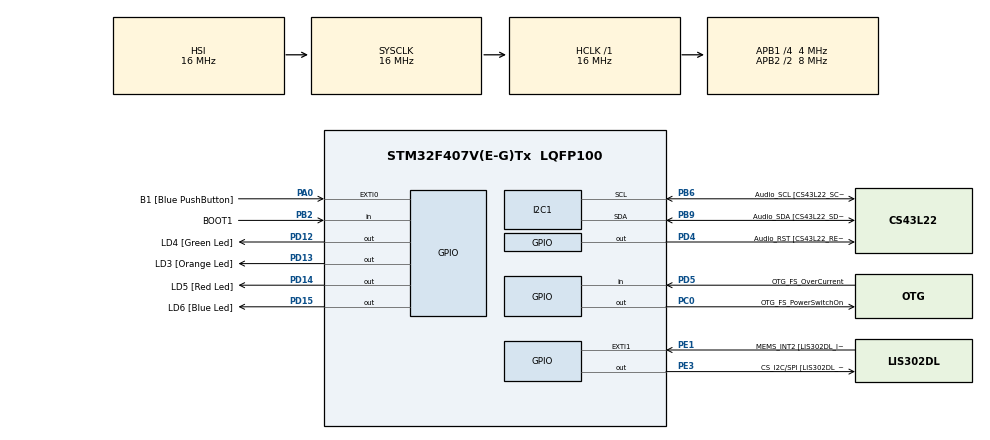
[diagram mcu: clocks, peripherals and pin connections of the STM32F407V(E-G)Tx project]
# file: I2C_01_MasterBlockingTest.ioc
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I2C1.OwnAddress=57
Mcu.Family=STM32F4
Mcu.Name=STM32F407V(E-G)Tx
Mcu.Package=LQFP100
NVIC.I2C1_ER_IRQn=true\:0\:0\:false\:false\:true\:true\:true\:true
NVIC.I2C1_EV_IRQn=true\:0\:0\:false\:false\:true\:true\:true\:true
NVIC.PriorityGroup=NVIC_PRIORITYGROUP_0
PA0-WKUP.GPIO_Label=B1 [Blue PushButton]
PA0-WKUP.Signal=GPXTI0
PA10.GPIO_Label=OTG_FS_ID
PA10.GPIO_Mode=GPIO_MODE_AF_PP
PA10.GPIO_PuPd=GPIO_NOPULL
PA10.GPIO_Speed=GPIO_SPEED_FREQ_LOW
PA10.Signal=USB_OTG_FS_ID
PA11.GPIO_Label=OTG_FS_DM
PA11.GPIO_Mode=GPIO_MODE_AF_PP
PA11.GPIO_PuPd=GPIO_NOPULL
PA11.GPIO_Speed=GPIO_SPEED_FREQ_LOW
PA11.Signal=USB_OTG_FS_DM
PA12.GPIO_Label=OTG_FS_DP
PA12.GPIO_Mode=GPIO_MODE_AF_PP
PA12.GPIO_PuPd=GPIO_NOPULL
PA12.GPIO_Speed=GPIO_SPEED_FREQ_LOW
PA12.Signal=USB_OTG_FS_DP
PA13.GPIO_Label=SWDIO
PA13.Signal=SYS_JTMS-SWDIO
PA14.GPIO_Label=SWCLK
PA14.Signal=SYS_JTCK-SWCLK
PA4.GPIO_Label=I2S3_WS [CS43L22_LRCK]
PA4.GPIO_Mode=GPIO_MODE_AF_PP
PA4.GPIO_PuPd=GPIO_NOPULL
PA4.GPIO_Speed=GPIO_SPEED_FREQ_LOW
PA4.Signal=I2S3_WS
PA5.GPIO_Label=SPI1_SCK [LIS302DL_SCL/SPC]
PA5.GPIO_Mode=GPIO_MODE_AF_PP
PA5.GPIO_PuPd=GPIO_NOPULL
PA5.GPIO_Speed=GPIO_SPEED_FREQ_LOW
PA5.Signal=SPI1_SCK
PA6.GPIO_Label=SPI1_MISO [LIS302DL_SDO]
PA6.GPIO_Mode=GPIO_MODE_AF_PP
PA6.GPIO_PuPd=GPIO_NOPULL
PA6.GPIO_Speed=GPIO_SPEED_FREQ_LOW
PA6.Signal=SPI1_MISO
PA7.GPIO_Label=SPI1_MOSI [LIS302DL_SDA/SDI/SDO]
PA7.GPIO_Mode=GPIO_MODE_AF_PP
PA7.GPIO_PuPd=GPIO_NOPULL
PA7.GPIO_Speed=GPIO_SPEED_FREQ_LOW
PA7.Signal=SPI1_MOSI
PA9.GPIO_Label=VBUS_FS
PA9.GPIO_Mode=GPIO_MODE_INPUT
PA9.GPIO_PuPd=GPIO_NOPULL
PA9.Signal=USB_OTG_FS_VBUS
PB10.GPIO_Label=CLK_IN [MP45DT02_CLK]
PB10.GPIO_Mode=GPIO_MODE_AF_PP
PB10.GPIO_PuPd=GPIO_NOPULL
PB10.GPIO_Speed=GPIO_SPEED_FREQ_LOW
PB10.Signal=I2S2_CK
PB2.GPIO_Label=BOOT1
PB2.GPIO_Mode=GPIO_MODE_INPUT
PB2.GPIO_PuPd=GPIO_NOPULL
PB2.Signal=GPIO_Input
PB3.GPIO_Label=SWO
PB3.Signal=SYS_JTDO-SWO
PB6.GPIO_Label=Audio_SCL [CS43L22_SCL]
PB6.GPIO_Mode=GPIO_MODE_AF_OD
PB6.GPIO_PuPd=GPIO_NOPULL
PB6.GPIO_Speed=GPIO_SPEED_FREQ_LOW
PB6.Mode=I2C
PB6.Signal=I2C1_SCL
PB9.GPIO_Label=Audio_SDA [CS43L22_SDA]
PB9.GPIO_Mode=GPIO_MODE_AF_OD
PB9.GPIO_PuPd=GPIO_NOPULL
PB9.GPIO_Speed=GPIO_SPEED_FREQ_LOW
PB9.Mode=I2C
PB9.Signal=I2C1_SDA
PC0.GPIO_Label=OTG_FS_PowerSwitchOn
PC0.GPIO_PuPd=GPIO_NOPULL
PC0.GPIO_Speed=GPIO_SPEED_FREQ_LOW
PC0.PinState=GPIO_PIN_SET
PC0.Signal=GPIO_Output
PC10.GPIO_Label=I2S3_SCK [CS43L22_SCLK]
PC10.GPIO_Mode=GPIO_MODE_AF_PP
PC10.GPIO_PuPd=GPIO_NOPULL
PC10.GPIO_Speed=GPIO_SPEED_FREQ_LOW
PC10.Signal=I2S3_CK
PC12.GPIO_Label=I2S3_SD [CS43L22_SDIN]
PC12.GPIO_Mode=GPIO_MODE_AF_PP
PC12.GPIO_PuPd=GPIO_NOPULL
PC12.GPIO_Speed=GPIO_SPEED_FREQ_LOW
PC12.Signal=I2S3_SD
PC14-OSC32_IN.GPIO_Label=PC14-OSC32_IN
PC14-OSC32_IN.Signal=RCC_OSC32_IN
PC15-OSC32_OUT.GPIO_Label=PC15-OSC32_OUT
PC15-OSC32_OUT.Signal=RCC_OSC32_OUT
PC3.GPIO_Label=PDM_OUT [MP45DT02_DOUT]
PC3.GPIO_Mode=GPIO_MODE_AF_PP
PC3.GPIO_PuPd=GPIO_NOPULL
PC3.GPIO_Speed=GPIO_SPEED_FREQ_LOW
PC3.Signal=I2S2_SD
PC7.GPIO_Label=I2S3_MCK [CS43L22_MCLK]
PC7.GPIO_Mode=GPIO_MODE_AF_PP
PC7.GPIO_PuPd=GPIO_NOPULL
PC7.GPIO_Speed=GPIO_SPEED_FREQ_LOW
PC7.Signal=I2S3_MCK
PD12.GPIO_Label=LD4 [Green Led]
PD12.GPIO_PuPd=GPIO_NOPULL
PD12.GPIO_Speed=GPIO_SPEED_FREQ_LOW
PD12.Signal=GPIO_Output
PD13.GPIO_Label=LD3 [Orange Led]
PD13.GPIO_PuPd=GPIO_NOPULL
PD13.GPIO_Speed=GPIO_SPEED_FREQ_LOW
PD13.Signal=GPIO_Output
PD14.GPIO_Label=LD5 [Red Led]
PD14.GPIO_PuPd=GPIO_NOPULL
PD14.GPIO_Speed=GPIO_SPEED_FREQ_LOW
PD14.Signal=GPIO_Output
PD15.GPIO_Label=LD6 [Blue Led]
PD15.GPIO_PuPd=GPIO_NOPULL
PD15.GPIO_Speed=GPIO_SPEED_FREQ_LOW
PD15.Signal=GPIO_Output
PD4.GPIO_Label=Audio_RST [CS43L22_RESET]
PD4.GPIO_PuPd=GPIO_NOPULL
PD4.GPIO_Speed=GPIO_SPEED_FREQ_LOW
PD4.Signal=GPIO_Output
PD5.GPIO_Label=OTG_FS_OverCurrent
PD5.GPIO_Mode=GPIO_MODE_INPUT
PD5.GPIO_PuPd=GPIO_NOPULL
PD5.Signal=GPIO_Input
PE1.GPIO_Label=MEMS_INT2 [LIS302DL_INT2]
PE1.GPIO_ModeDefaultEXTI=GPIO_MODE_EVT_RISING
PE1.GPIO_PuPd=GPIO_NOPULL
PE1.Signal=GPXTI1
PE3.GPIO_Label=CS_I2C/SPI [LIS302DL_CS_I2C/SPI]
PE3.GPIO_PuPd=GPIO_NOPULL
PE3.GPIO_Speed=GPIO_SPEED_FREQ_LOW
PE3.Signal=GPIO_Output
PH0-OSC_IN.GPIO_Label=PH0-OSC_IN
PH0-OSC_IN.Signal=RCC_OSC_IN
PH1-OSC_OUT.GPIO_Label=PH1-OSC_OUT
PH1-OSC_OUT.Signal=RCC_OSC_OUT
ProjectManager.HeapSize=0x200
ProjectManager.StackSize=0x400
ProjectManager.TargetToolchain=STM32CubeIDE
RCC.48MHZClocksFreq_Value=14285714.285714285
RCC.AHBFreq_Value=16000000
RCC.APB1CLKDivider=RCC_HCLK_DIV4
RCC.APB1Freq_Value=4000000
RCC.APB1TimFreq_Value=8000000
RCC.APB2CLKDivider=RCC_HCLK_DIV2
RCC.APB2Freq_Value=8000000
RCC.APB2TimFreq_Value=16000000
RCC.CortexFreq_Value=16000000
RCC.HCLKFreq_Value=16000000
RCC.HSE_VALUE=8000000
RCC.HSI_VALUE=16000000
RCC.LSE_VALUE=32768
RCC.PLLM=8
RCC.PLLN=50
RCC.PLLP=RCC_PLLP_DIV4
RCC.PLLQ=7
RCC.SYSCLKFreq_VALUE=16000000
RCC.VCOOutputFreq_Value=100000000
board=STM32F407G-DISC1

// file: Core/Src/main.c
/* USER CODE BEGIN Header */
/**
  ******************************************************************************
  * @file           : main.c
  * @brief          : Main program body
  ******************************************************************************
  * @attention
  *
  * Copyright (c) 2026 STMicroelectronics.
  * All rights reserved.
  *
  * This software is licensed under terms that can be found in the LICENSE file
  * in the root directory of this software component.
  * If no LICENSE file comes with this software, it is provided AS-IS.
  *
  ******************************************************************************
  */
/* USER CODE END Header */
#include "main.h"

/* USER CODE BEGIN Includes */
#include <string.h>
#include <stdio.h>
//PB9 is I2C_SDA
//PB6 is I2C_SCL
//Min pull-up is approx 1k, Max Pull up is approx 20k we will use 3.3k resistor.

/* USER CODE END Includes */

/* USER CODE BEGIN PD */
#define MASTER_MSGLEN		28
#define MASTER_SCNDMSGLEN	32

/* USER CODE END PD */

I2C_HandleTypeDef hi2c1;

/* USER CODE BEGIN PV */
uint8_t MsgBuff[70];
uint8_t ScndMsgBuff[70];

uint8_t OneByteSend = 'T';
uint8_t TwoByteSend[] = "OD";
uint8_t MsgSend[]="I2C Slave Talking...";

/* USER CODE END PV */

void SystemClock_Config(void);
static void MX_GPIO_Init(void);
static void MX_I2C1_Init(void);

int main(void)
{

  /* MCU Configuration--------------------------------------------------------*/

  /* Reset of all peripherals, Initializes the Flash interface and the Systick. */
  HAL_Init();

  /* Configure the system clock */
  SystemClock_Config();

  /* Initialize all configured peripherals */
  MX_GPIO_Init();
  MX_I2C1_Init();

  /* Infinite loop */
  while (1)
  {

    /* USER CODE BEGIN 3 */
	  while(HAL_I2C_Slave_Receive_IT(&hi2c1,MsgBuff,MASTER_MSGLEN)!=HAL_OK){//Enable Slave receive. If func doesnt return OK, try again.
			  }
	  while(hi2c1.State != HAL_I2C_STATE_READY);//Wait while i2c is busy in rx
	  MsgBuff[MASTER_MSGLEN] = '\0';
	  printf("Received data : %s\n",MsgBuff);//print received data through itm.

	  if(HAL_I2C_Slave_Transmit_IT(&hi2c1,&OneByteSend,1)!= HAL_OK)//Make Slave ready for transfer of one byte.
		{
		  /* Transfer error in transmission process */
		  Error_Handler();
		}
	  while(hi2c1.State != HAL_I2C_STATE_READY);//Wait while i2c is busy in tx
	  if(HAL_I2C_Slave_Transmit_IT(&hi2c1,TwoByteSend,2)!= HAL_OK)//Make Slave ready for transfer of one byte.
			{
			  /* Transfer error in transmission process */
			  Error_Handler();
			}
	  while(hi2c1.State != HAL_I2C_STATE_READY);//Wait while i2c is busy in tx
	  if(HAL_I2C_Slave_Transmit_IT(&hi2c1,MsgSend,strlen((char*)MsgSend))!= HAL_OK)//Make Slave ready for main message transfer.
			{
			  /* Transfer error in transmission process */
			  Error_Handler();
			}
	  while(hi2c1.State != HAL_I2C_STATE_READY);//Wait while i2c is busy in Tx

	  while(HAL_I2C_Slave_Receive_IT(&hi2c1,ScndMsgBuff,31)!=HAL_OK){//Enable Slave receive. If func doesnt return OK, try again.
				  }
	  while(hi2c1.State != HAL_I2C_STATE_READY);//Wait while i2c is busy in rx
	  ScndMsgBuff[MASTER_SCNDMSGLEN] = '\0';
	  printf("Second Received data : %s\n",ScndMsgBuff);//print received data through itm

	  break;
  }
  for(;;);
  /* USER CODE END 3 */
}

void SystemClock_Config(void)
{
  RCC_OscInitTypeDef RCC_OscInitStruct = {0};
  RCC_ClkInitTypeDef RCC_ClkInitStruct = {0};

  /** Configure the main internal regulator output voltage
  */
  __HAL_RCC_PWR_CLK_ENABLE();
  __HAL_PWR_VOLTAGESCALING_CONFIG(PWR_REGULATOR_VOLTAGE_SCALE1);

  /** Initializes the RCC Oscillators according to the specified parameters
  * in the RCC_OscInitTypeDef structure.
  */
  RCC_OscInitStruct.OscillatorType = RCC_OSCILLATORTYPE_HSI;
  RCC_OscInitStruct.HSIState = RCC_HSI_ON;
  RCC_OscInitStruct.HSICalibrationValue = RCC_HSICALIBRATION_DEFAULT;
  RCC_OscInitStruct.PLL.PLLState = RCC_PLL_NONE;
  if (HAL_RCC_OscConfig(&RCC_OscInitStruct) != HAL_OK)
  {
    Error_Handler();
  }

  /** Initializes the CPU, AHB and APB buses clocks
  */
  RCC_ClkInitStruct.ClockType = RCC_CLOCKTYPE_HCLK|RCC_CLOCKTYPE_SYSCLK
                              |RCC_CLOCKTYPE_PCLK1|RCC_CLOCKTYPE_PCLK2;
  RCC_ClkInitStruct.SYSCLKSource = RCC_SYSCLKSOURCE_HSI;
  RCC_ClkInitStruct.AHBCLKDivider = RCC_SYSCLK_DIV1;
  RCC_ClkInitStruct.APB1CLKDivider = RCC_HCLK_DIV4;
  RCC_ClkInitStruct.APB2CLKDivider = RCC_HCLK_DIV2;

  if (HAL_RCC_ClockConfig(&RCC_ClkInitStruct, FLASH_LATENCY_0) != HAL_OK)
  {
    Error_Handler();
  }
}

static void MX_I2C1_Init(void)
{

  hi2c1.Instance = I2C1;
  hi2c1.Init.ClockSpeed = 100000;
  hi2c1.Init.DutyCycle = I2C_DUTYCYCLE_2;
  hi2c1.Init.OwnAddress1 = 114;
  hi2c1.Init.AddressingMode = I2C_ADDRESSINGMODE_7BIT;
  hi2c1.Init.DualAddressMode = I2C_DUALADDRESS_DISABLE;
  hi2c1.Init.OwnAddress2 = 0;
  hi2c1.Init.GeneralCallMode = I2C_GENERALCALL_DISABLE;
  hi2c1.Init.NoStretchMode = I2C_NOSTRETCH_DISABLE;
  if (HAL_I2C_Init(&hi2c1) != HAL_OK)
  {
    Error_Handler();
  }

}

static void MX_GPIO_Init(void)
{
  GPIO_InitTypeDef GPIO_InitStruct = {0};

  /* GPIO Ports Clock Enable */
  __HAL_RCC_GPIOE_CLK_ENABLE();
  __HAL_RCC_GPIOC_CLK_ENABLE();
  __HAL_RCC_GPIOH_CLK_ENABLE();
  __HAL_RCC_GPIOA_CLK_ENABLE();
  __HAL_RCC_GPIOB_CLK_ENABLE();
  __HAL_RCC_GPIOD_CLK_ENABLE();

  /*Configure GPIO pin Output Level */
  HAL_GPIO_WritePin(CS_I2C_SPI_GPIO_Port, CS_I2C_SPI_Pin, GPIO_PIN_RESET);

  /*Configure GPIO pin Output Level */
  HAL_GPIO_WritePin(OTG_FS_PowerSwitchOn_GPIO_Port, OTG_FS_PowerSwitchOn_Pin, GPIO_PIN_SET);

  /*Configure GPIO pin Output Level */
  HAL_GPIO_WritePin(GPIOD, LD4_Pin|LD3_Pin|LD5_Pin|LD6_Pin
                          |Audio_RST_Pin, GPIO_PIN_RESET);

  /*Configure GPIO pin : CS_I2C_SPI_Pin */
  GPIO_InitStruct.Pin = CS_I2C_SPI_Pin;
  GPIO_InitStruct.Mode = GPIO_MODE_OUTPUT_PP;
  GPIO_InitStruct.Pull = GPIO_NOPULL;
  GPIO_InitStruct.Speed = GPIO_SPEED_FREQ_LOW;
  HAL_GPIO_Init(CS_I2C_SPI_GPIO_Port, &GPIO_InitStruct);

  /*Configure GPIO pin : OTG_FS_PowerSwitchOn_Pin */
  GPIO_InitStruct.Pin = OTG_FS_PowerSwitchOn_Pin;
  GPIO_InitStruct.Mode = GPIO_MODE_OUTPUT_PP;
  GPIO_InitStruct.Pull = GPIO_NOPULL;
  GPIO_InitStruct.Speed = GPIO_SPEED_FREQ_LOW;
  HAL_GPIO_Init(OTG_FS_PowerSwitchOn_GPIO_Port, &GPIO_InitStruct);

  /*Configure GPIO pin : PDM_OUT_Pin */
  GPIO_InitStruct.Pin = PDM_OUT_Pin;
  GPIO_InitStruct.Mode = GPIO_MODE_AF_PP;
  GPIO_InitStruct.Pull = GPIO_NOPULL;
  GPIO_InitStruct.Speed = GPIO_SPEED_FREQ_LOW;
  GPIO_InitStruct.Alternate = GPIO_AF5_SPI2;
  HAL_GPIO_Init(PDM_OUT_GPIO_Port, &GPIO_InitStruct);

  /*Configure GPIO pin : B1_Pin */
  GPIO_InitStruct.Pin = B1_Pin;
  GPIO_InitStruct.Mode = GPIO_MODE_IT_RISING;
  GPIO_InitStruct.Pull = GPIO_NOPULL;
  HAL_GPIO_Init(B1_GPIO_Port, &GPIO_InitStruct);

  /*Configure GPIO pin : I2S3_WS_Pin */
  GPIO_InitStruct.Pin = I2S3_WS_Pin;
  GPIO_InitStruct.Mode = GPIO_MODE_AF_PP;
  GPIO_InitStruct.Pull = GPIO_NOPULL;
  GPIO_InitStruct.Speed = GPIO_SPEED_FREQ_LOW;
  GPIO_InitStruct.Alternate = GPIO_AF6_SPI3;
  HAL_GPIO_Init(I2S3_WS_GPIO_Port, &GPIO_InitStruct);

  /*Configure GPIO pins : SPI1_SCK_Pin SPI1_MISO_Pin SPI1_MOSI_Pin */
  GPIO_InitStruct.Pin = SPI1_SCK_Pin|SPI1_MISO_Pin|SPI1_MOSI_Pin;
  GPIO_InitStruct.Mode = GPIO_MODE_AF_PP;
  GPIO_InitStruct.Pull = GPIO_NOPULL;
  GPIO_InitStruct.Speed = GPIO_SPEED_FREQ_LOW;
  GPIO_InitStruct.Alternate = GPIO_AF5_SPI1;
  HAL_GPIO_Init(GPIOA, &GPIO_InitStruct);

  /*Configure GPIO pin : BOOT1_Pin */
  GPIO_InitStruct.Pin = BOOT1_Pin;
  GPIO_InitStruct.Mode = GPIO_MODE_INPUT;
  GPIO_InitStruct.Pull = GPIO_NOPULL;
  HAL_GPIO_Init(BOOT1_GPIO_Port, &GPIO_InitStruct);

  /*Configure GPIO pin : CLK_IN_Pin */
  GPIO_InitStruct.Pin = CLK_IN_Pin;
  GPIO_InitStruct.Mode = GPIO_MODE_AF_PP;
  GPIO_InitStruct.Pull = GPIO_NOPULL;
  GPIO_InitStruct.Speed = GPIO_SPEED_FREQ_LOW;
  GPIO_InitStruct.Alternate = GPIO_AF5_SPI2;
  HAL_GPIO_Init(CLK_IN_GPIO_Port, &GPIO_InitStruct);

  /*Configure GPIO pins : LD4_Pin LD3_Pin LD5_Pin LD6_Pin
                           Audio_RST_Pin */
  GPIO_InitStruct.Pin = LD4_Pin|LD3_Pin|LD5_Pin|LD6_Pin
                          |Audio_RST_Pin;
  GPIO_InitStruct.Mode = GPIO_MODE_OUTPUT_PP;
  GPIO_InitStruct.Pull = GPIO_NOPULL;
  GPIO_InitStruct.Speed = GPIO_SPEED_FREQ_LOW;
  HAL_GPIO_Init(GPIOD, &GPIO_InitStruct);

  /*Configure GPIO pins : I2S3_MCK_Pin I2S3_SCK_Pin I2S3_SD_Pin */
  GPIO_InitStruct.Pin = I2S3_MCK_Pin|I2S3_SCK_Pin|I2S3_SD_Pin;
  GPIO_InitStruct.Mode = GPIO_MODE_AF_PP;
  GPIO_InitStruct.Pull = GPIO_NOPULL;
  GPIO_InitStruct.Speed = GPIO_SPEED_FREQ_LOW;
  GPIO_InitStruct.Alternate = GPIO_AF6_SPI3;
  HAL_GPIO_Init(GPIOC, &GPIO_InitStruct);

  /*Configure GPIO pin : VBUS_FS_Pin */
  GPIO_InitStruct.Pin = VBUS_FS_Pin;
  GPIO_InitStruct.Mode = GPIO_MODE_INPUT;
  GPIO_InitStruct.Pull = GPIO_NOPULL;
  HAL_GPIO_Init(VBUS_FS_GPIO_Port, &GPIO_InitStruct);

  /*Configure GPIO pins : OTG_FS_ID_Pin OTG_FS_DM_Pin OTG_FS_DP_Pin */
  GPIO_InitStruct.Pin = OTG_FS_ID_Pin|OTG_FS_DM_Pin|OTG_FS_DP_Pin;
  GPIO_InitStruct.Mode = GPIO_MODE_AF_PP;
  GPIO_InitStruct.Pull = GPIO_NOPULL;
  GPIO_InitStruct.Speed = GPIO_SPEED_FREQ_LOW;
  GPIO_InitStruct.Alternate = GPIO_AF10_OTG_FS;
  HAL_GPIO_Init(GPIOA, &GPIO_InitStruct);

  /*Configure GPIO pin : OTG_FS_OverCurrent_Pin */
  GPIO_InitStruct.Pin = OTG_FS_OverCurrent_Pin;
  GPIO_InitStruct.Mode = GPIO_MODE_INPUT;
  GPIO_InitStruct.Pull = GPIO_NOPULL;
  HAL_GPIO_Init(OTG_FS_OverCurrent_GPIO_Port, &GPIO_InitStruct);

  /*Configure GPIO pin : MEMS_INT2_Pin */
  GPIO_InitStruct.Pin = MEMS_INT2_Pin;
  GPIO_InitStruct.Mode = GPIO_MODE_EVT_RISING;
  GPIO_InitStruct.Pull = GPIO_NOPULL;
  HAL_GPIO_Init(MEMS_INT2_GPIO_Port, &GPIO_InitStruct);

}

void Error_Handler(void)
{
  __disable_irq();
  while (1)
  {
  }
}
